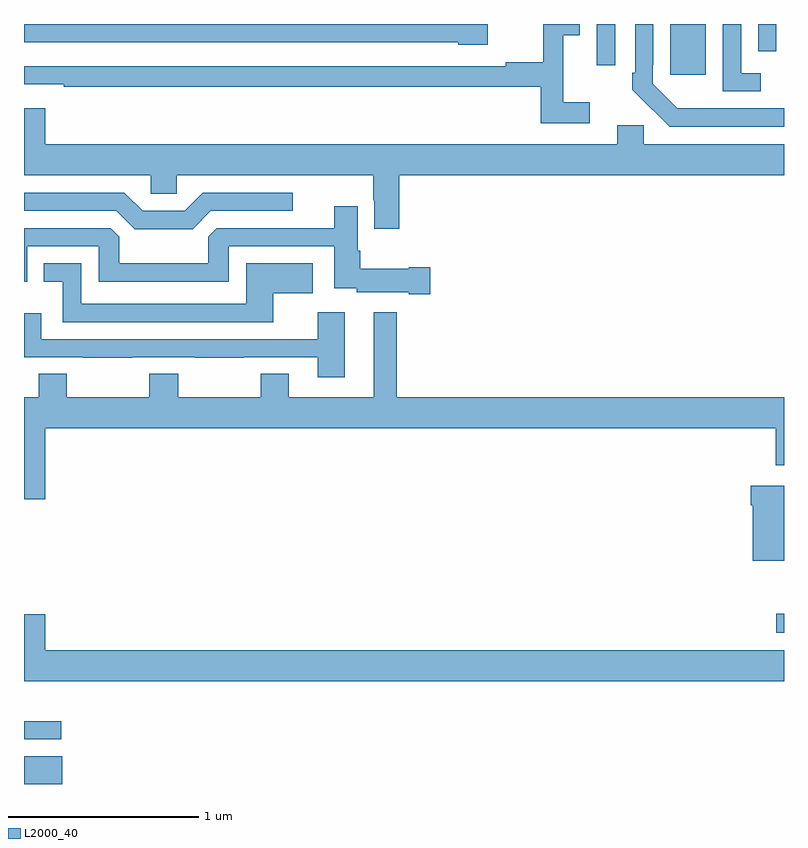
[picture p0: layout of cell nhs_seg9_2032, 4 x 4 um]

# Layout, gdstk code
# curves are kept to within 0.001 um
import gdstk
lib = gdstk.Library(unit=1e-6, precision=1e-09)
def R(c, l, rs):  # rectangles x0, y0, x1, y1
    for r in rs: c.add(gdstk.rectangle(r[:2], r[2:], *l))
def P(c, l, *ps):  # polygons
    for p in ps: c.add(gdstk.Polygon(p, *l))
L2000_40 = (2000, 40)

nhs_seg9_2032 = lib.new_cell('nhs_seg9_2032')
R(nhs_seg9_2032, L2000_40, [(225,1242.5,225.202,1242.646), (225,1242.735,225.196,1242.831), (228.96,1243.296,229,1243.397), (228.401,1246.233,228.589,1246.5), (228.015,1246.284,228.111,1246.5), (228.864,1246.356,228.96,1246.5)])
P(nhs_seg9_2032, L2000_40, [(229,1246.056),(228.438,1246.057),(228.309,1246.185),(228.309,1246.285),(228.312,1246.285),(228.312,1246.5),(228.216,1246.5),(228.216,1246.243),(228.201,1246.243),(228.201,1246.155),(228.398,1245.96),(229,1245.96)],
  [(227.977,1246.087),(227.837,1246.087),(227.837,1246.442),(227.926,1246.442),(227.926,1246.5),(227.734,1246.5),(227.734,1246.298),(227.536,1246.298),(227.536,1246.278),(225,1246.278),(225,1246.182),(225.208,1246.182),(225.208,1246.17),(227.719,1246.17),(227.719,1245.978),(227.977,1245.978)],
  [(227.44,1246.5),(225,1246.5),(225,1246.404),(227.286,1246.404),(227.286,1246.391),(227.44,1246.391)],
  [(228.877,1246.242),(228.774,1246.242),(228.774,1246.5),(228.678,1246.5),(228.678,1246.146),(228.877,1246.146)],
  [(226.976,1245.704),(229,1245.704),(229,1245.868),(228.261,1245.868),(228.261,1245.966),(228.122,1245.966),(228.122,1245.868),(225.112,1245.868),(225.112,1246.057),(225,1246.057),(225,1245.704),(225.666,1245.704),(225.666,1245.606),(225.804,1245.606),(225.804,1245.704),(226.837,1245.704),(226.837,1245.572),(226.844,1245.572),(226.844,1245.423),(226.976,1245.423)],
  [(225.984,1245.516),(226.414,1245.516),(226.414,1245.612),(225.942,1245.612),(225.846,1245.516),(225.624,1245.516),(225.528,1245.612),(225,1245.612),(225,1245.516),(225.486,1245.516),(225.584,1245.419),(225.887,1245.419)],
  [(227.137,1245.219),(227.024,1245.219),(227.024,1245.211),(226.769,1245.211),(226.769,1245.307),(226.756,1245.307),(226.756,1245.541),(226.634,1245.541),(226.634,1245.426),(226.014,1245.426),(225.969,1245.381),(225.969,1245.242),(225.501,1245.242),(225.501,1245.381),(225.456,1245.426),(225,1245.426),(225,1245.144),(225.018,1245.144),(225.018,1245.33),(225.393,1245.33),(225.393,1245.144),(226.077,1245.144),(226.077,1245.33),(226.634,1245.33),(226.634,1245.11),(226.752,1245.11),(226.752,1245.089),(227.024,1245.089),(227.024,1245.077),(227.137,1245.077)],
  [(226.312,1245.083),(226.519,1245.083),(226.519,1245.241),(226.169,1245.241),(226.169,1245.027),(225.3,1245.027),(225.3,1245.24),(225.103,1245.24),(225.103,1245.143),(225.203,1245.143),(225.203,1244.931),(226.312,1244.931)],
  [(225.112,1244.372),(228.956,1244.372),(228.956,1244.178),(229,1244.178),(229,1244.536),(226.963,1244.536),(226.963,1244.983),(226.841,1244.983),(226.841,1244.536),(226.393,1244.536),(226.393,1244.66),(226.246,1244.66),(226.246,1244.536),(225.813,1244.536),(225.813,1244.66),(225.658,1244.66),(225.658,1244.536),(225.225,1244.536),(225.225,1244.66),(225.077,1244.66),(225.077,1244.536),(225,1244.536),(225,1243.998),(225.112,1243.998)],
  [(226.687,1244.983),(226.547,1244.983),(226.547,1244.841),(225.091,1244.841),(225.091,1244.977),(225,1244.977),(225,1244.745),(225.313,1244.745),(225.313,1244.744),(225.569,1244.744),(225.569,1244.745),(225.901,1244.745),(225.901,1244.744),(226.157,1244.744),(226.157,1244.745),(226.547,1244.745),(226.547,1244.64),(226.687,1244.64)],
  [(229,1244.071),(228.824,1244.071),(228.824,1243.967),(228.836,1243.967),(228.836,1243.676),(229,1243.676)],
  [(229,1243.204),(225.112,1243.204),(225.112,1243.393),(225,1243.393),(225,1243.04),(229,1243.04)])

lib.write_gds('nhs_seg9_2032.gds')
